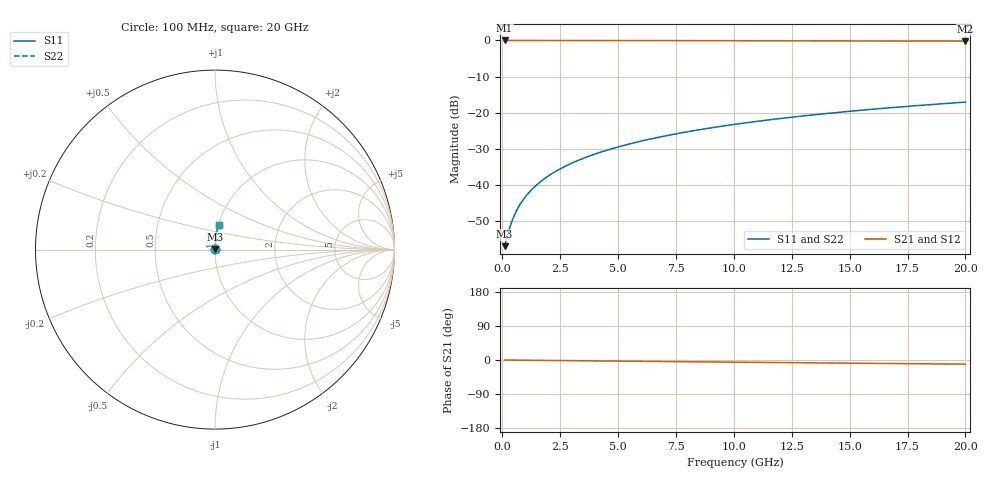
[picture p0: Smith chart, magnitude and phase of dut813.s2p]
! Touchstone file exported from HFSS 2024.1.0
!  File:  C:/UserFiles/LocalFiles/RDL_TSV_Batchsim/temp_RDL_top_813_1779854206.aedt
!  Generated:  11:59:14 AM May 27, 2026
!  Design:  RDL_top
!  Project:  temp_RDL_top_813_1779854206
!  Setup:  Setup1
!  Solution:  Sweep
! Variables:
!  dtsv = 10.80580581um
!  hbump = 3um
!  htsv = 77.82um
!  ldown = 100um
!  lrdl = 113.63um
!  p = 40
!  p1 = 43.17um
!  rhole = 1um
!  t = 450um
!  tdown = 3.915915916um
!  trdl = 2.63um
!  wdown = 15.38538539um
!  wrdl = 15.92um
# GHz S MA R 50.000000
! Terminal data exported
! Port[1] = Box2_T1
! Port[2] = Box2_T2
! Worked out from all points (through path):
!   200 points, 100 MHz to 20 GHz, reference 50 ohm
!   highest |S21| = -0.01 dB at 100 MHz (marker M1); lowest = -0.2 dB at 20 GHz (marker M2)
!   group delay of S21, straight-line fit = 1.52 ps
!   lowest |S11| = -56.9 dB at 100 MHz (marker M3), VSWR 1.00, Z = 50.1 + j0.0704 ohm
!   |S11| at or under -10 dB: start of sweep to end of sweep
!   |S22| runs from -56.9 to -17.1 dB; largest |S21 - S12| = 2.7e-15
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0.1  0.001425 29.5  0.9988 -0.1  0.9988 -0.1  0.001425 29.5
! Gamma 0 0 0 0
! Port Impedance 50 0 50 0
0.3  0.002451 58.4  0.9987 -0.2  0.9987 -0.2  0.002451 58.4
0.4  0.003062 64.6  0.9987 -0.2  0.9987 -0.2  0.003062 64.6
0.5  0.00369 68.7  0.9986 -0.3  0.9986 -0.3  0.00369 68.7
0.6  0.004325 71.6  0.9986 -0.4  0.9986 -0.4  0.004325 71.6
0.8  0.005603 75.5  0.9985 -0.5  0.9985 -0.5  0.005603 75.5
1  0.006889 77.9  0.9985 -0.6  0.9985 -0.6  0.006889 77.9
1.2  0.008182 79.7  0.9984 -0.7  0.9984 -0.7  0.008182 79.7
1.4  0.009481 81.0  0.9983 -0.8  0.9983 -0.8  0.009481 81.0
1.7  0.01144 82.5  0.9982 -1.0  0.9982 -1.0  0.01144 82.5
2.2  0.01473 84.0  0.998 -1.3  0.998 -1.3  0.01473 84.0
2.8  0.01871 85.2  0.9977 -1.7  0.9977 -1.7  0.01871 85.2
3.5  0.0234 86.0  0.9972 -2.1  0.9972 -2.1  0.0234 86.0
4.2  0.02814 86.5  0.9967 -2.5  0.9967 -2.5  0.02814 86.5
5  0.0336 86.8  0.996 -2.9  0.996 -2.9  0.0336 86.8
5.9  0.03981 86.9  0.9952 -3.5  0.9952 -3.5  0.03981 86.9
6.8  0.04609 86.9  0.9943 -4.0  0.9943 -4.0  0.04609 86.9
8.3  0.05666 86.6  0.9927 -4.8  0.9927 -4.8  0.05666 86.6
10.1  0.06948 86.0  0.9906 -5.8  0.9906 -5.8  0.06948 86.0
13.4  0.09314 84.5  0.9866 -7.5  0.9866 -7.5  0.09314 84.5
16.7  0.1167 82.7  0.9824 -9.3  0.9824 -9.3  0.1167 82.7
20  0.1401 80.9  0.978 -11.0  0.978 -11.0  0.1401 80.9
